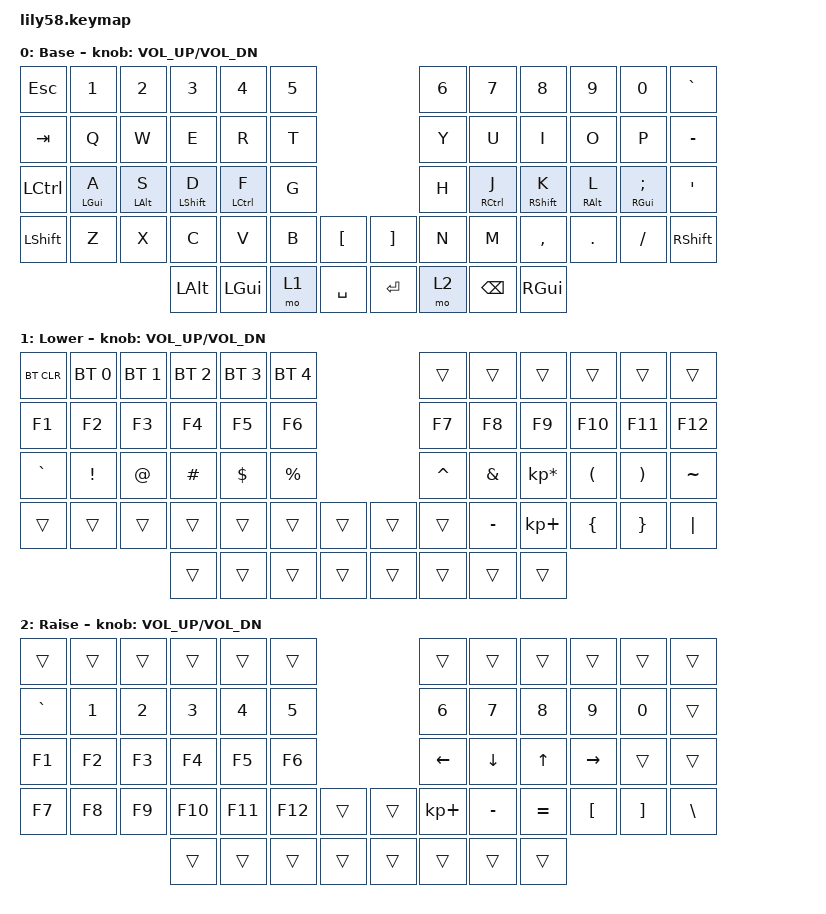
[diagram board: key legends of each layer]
/*
 * Copyright (c) 2020 The ZMK Contributors
 *
 * SPDX-License-Identifier: MIT
 */

#include <behaviors.dtsi>
#include <dt-bindings/zmk/bt.h>
#include <dt-bindings/zmk/keys.h>

/ {
    behaviors {
        hml: homerow_mod_left {
            compatible = "zmk,behavior-hold-tap";
            #binding-cells = <2>;
            tapping-term-ms = <200>;
            flavor = "balanced";
            quick-tap-ms = <175>;
            require-prior-idle-ms = <150>;
            bindings = <&kp>, <&kp>;

            hold-trigger-key-positions = <6 7 8 9 10 11  18 19 20 21 22 23  30 31 32 33 34 35  43 44 45 46 47 48 49  54 55 56 57>;
            hold-trigger-on-release;
        };

        hmr: homerow_mod_right {
            compatible = "zmk,behavior-hold-tap";
            #binding-cells = <2>;
            tapping-term-ms = <200>;
            flavor = "balanced";
            quick-tap-ms = <175>;
            require-prior-idle-ms = <150>;
            bindings = <&kp>, <&kp>;

            hold-trigger-key-positions = <0 1 2 3 4 5  12 13 14 15 16 17  24 25 26 27 28 29  36 37 38 39 40 41 42  50 51 52 53>;
            hold-trigger-on-release;
        };
    };

    keymap {
        compatible = "zmk,keymap";

        default_layer {
            // ------------------------------------------------------------------------------------------------------------
            // |  ESC  |  1  |  2  |  3   |  4   |  5   |                   |  6   |  7    |  8    |  9   |   0   |   `   |
            // |  TAB  |  Q  |  W  |  E   |  R   |  T   |                   |  Y   |  U    |  I    |  O   |   P   |   -   |
            // |  CTRL |  A  |  S  |  D   |  F   |  G   |                   |  H   |  J    |  K    |  L   |   ;   |   '   |
            // | SHIFT |  Z  |  X  |  C   |  V   |  B   |   "["  |  |  "]"  |  N   |  M    |  ,    |  .   |   /   | SHIFT |
            //                     | ALT  | GUI  | LOWER|  SPACE |  | ENTER | RAISE| BSPC  | GUI   |

            display-name = "Base";
            bindings = <
&kp ESC           &kp N1           &kp N2           &kp N3             &kp N4               &kp N5                         &kp N6  &kp N7                &kp N8              &kp N9            &kp N0               &kp GRAVE
&kp TAB           &kp Q            &kp W            &kp E              &kp R                &kp T                          &kp Y   &kp U                 &kp I               &kp O             &kp P                &kp MINUS
&kp LEFT_CONTROL  &hml LEFT_GUI A  &hml LEFT_ALT S  &hml LEFT_SHIFT D  &hml LEFT_CONTROL F  &kp G                          &kp H   &hmr RIGHT_CONTROL J  &hmr RIGHT_SHIFT K  &hmr RIGHT_ALT L  &hmr RIGHT_GUI SEMI  &kp SQT
&kp LEFT_SHIFT    &kp Z            &kp X            &kp C              &kp V                &kp B   &kp LBKT     &kp RBKT  &kp N   &kp M                 &kp COMMA           &kp DOT           &kp FSLH             &kp RSHFT
                                                    &kp LALT           &kp LGUI             &mo 1   &kp SPACE    &kp RET   &mo 2   &kp BSPC              &kp RGUI
            >;

            sensor-bindings = <&inc_dec_kp C_VOL_UP C_VOL_DN>;
        };

        lower_layer {
            // ------------------------------------------------------------------------------------------------------------
            // | BTCLR | BT1 | BT2 |  BT3 |  BT4 |  BT5 |                   |      |       |       |      |       |       |
            // |  F1   |  F2 |  F3 |  F4  |  F5  |  F6  |                   |  F7  |  F8   |  F9   |  F10 |  F11  |  F12  |
            // |   `   |  !  |  @  |  #   |  $   |  %   |                   |  ^   |  &    |  *    |  (   |   )   |   ~   |
            // |       |     |     |      |      |      |        |  |       |      |  _    |  +    |  {   |   }   |  "|"  |
            //                     |      |      |      |        |  |       |      |       |       |

            display-name = "Lower";
            bindings = <
&bt BT_CLR  &bt BT_SEL 0  &bt BT_SEL 1  &bt BT_SEL 2  &bt BT_SEL 3  &bt BT_SEL 4                    &trans     &trans     &trans           &trans    &trans    &trans
&kp F1      &kp F2        &kp F3        &kp F4        &kp F5        &kp F6                          &kp F7     &kp F8     &kp F9           &kp F10   &kp F11   &kp F12
&kp GRAVE   &kp EXCL      &kp AT        &kp HASH      &kp DOLLAR    &kp PRCNT                       &kp CARET  &kp AMPS   &kp KP_MULTIPLY  &kp LPAR  &kp RPAR  &kp TILDE
&trans      &trans        &trans        &trans        &trans        &trans        &trans    &trans  &trans     &kp MINUS  &kp KP_PLUS      &kp LBRC  &kp RBRC  &kp PIPE
                                        &trans        &trans        &trans        &trans    &trans  &trans     &trans     &trans
            >;

            sensor-bindings = <&inc_dec_kp C_VOL_UP C_VOL_DN>;
        };

        raise_layer {
            // ------------------------------------------------------------------------------------------------------------
            // |       |     |     |      |      |      |                   |      |       |       |      |       |       |
            // |   `   |  1  |  2  |  3   |  4   |  5   |                   |  6   |   7   |   8   |  9   |   0   |       |
            // |   F1  |  F2 |  F3 |  F4  |  F5  |  F6  |                   |      |   <-  |   v   |  ^   |  ->   |       |
            // |   F7  |  F8 |  F9 |  F10 |  F11 |  F12 |        |  |       |  +   |   -   |   =   |  [   |   ]   |   \   |
            //                     |      |      |      |        |  |       |      |       |       |

            display-name = "Raise";
            bindings = <
&trans     &trans  &trans  &trans   &trans   &trans                     &trans       &trans     &trans     &trans     &trans    &trans
&kp GRAVE  &kp N1  &kp N2  &kp N3   &kp N4   &kp N5                     &kp N6       &kp N7     &kp N8     &kp N9     &kp N0    &trans
&kp F1     &kp F2  &kp F3  &kp F4   &kp F5   &kp F6                     &kp LEFT     &kp DOWN   &kp UP     &kp RIGHT  &trans    &trans
&kp F7     &kp F8  &kp F9  &kp F10  &kp F11  &kp F12  &trans    &trans  &kp KP_PLUS  &kp MINUS  &kp EQUAL  &kp LBKT   &kp RBKT  &kp BSLH
                           &trans   &trans   &trans   &trans    &trans  &trans       &trans     &trans
            >;

            sensor-bindings = <&inc_dec_kp C_VOL_UP C_VOL_DN>;
        };

        extra_1 { status = "reserved"; };

        extra_2 { status = "reserved"; };

        extra_3 { status = "reserved"; };
    };
};
